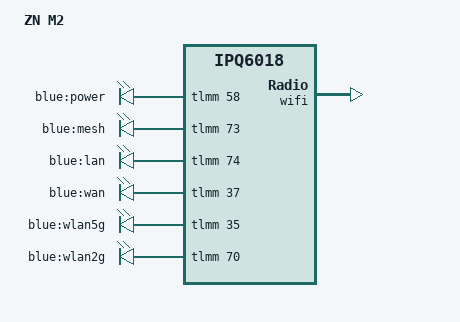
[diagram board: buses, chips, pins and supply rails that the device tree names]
// SPDX-License-Identifier: GPL-2.0-or-later OR MIT

/dts-v1/;

#include "ipq6000-cmiot.dtsi"

/ {
	model = "ZN M2";
	compatible = "zn,m2", "qcom,ipq6018";

	aliases {
		led-boot = &led_power;
		led-failsafe = &led_power;
		led-running = &led_power;
		led-upgrade = &led_power;
	};

	leds {
		compatible = "gpio-leds";

		led_power: power {
			label = "blue:power";
			gpios = <&tlmm 58 GPIO_ACTIVE_HIGH>;
		};

		mesh {
			label = "blue:mesh";
			gpios = <&tlmm 73 GPIO_ACTIVE_HIGH>;
		};

		lan {
			label = "blue:lan";
			gpios = <&tlmm 74 GPIO_ACTIVE_HIGH>;
		};

		wan {
			label = "blue:wan";
			gpios = <&tlmm 37 GPIO_ACTIVE_HIGH>;
		};

		wlan5g {
			label = "blue:wlan5g";
			gpios = <&tlmm 35 GPIO_ACTIVE_HIGH>;
		};

		wlan2g {
			label = "blue:wlan2g";
			gpios = <&tlmm 70 GPIO_ACTIVE_HIGH>;
		};
	};
};

&wifi {
	status = "okay";
	qcom,ath11k-fw-memory-mode = <1>;
	qcom,ath11k-calibration-variant = "ZN-M2";
};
